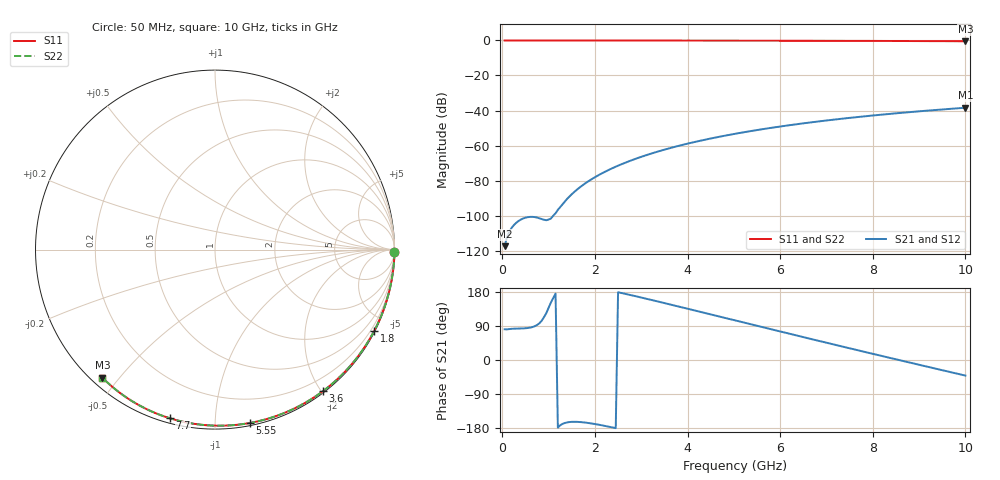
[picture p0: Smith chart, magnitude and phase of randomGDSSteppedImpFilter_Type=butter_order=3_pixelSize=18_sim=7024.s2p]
! freq	dB(S11)	phase(S11)	dB(S12)	phase(S12)
!  dB(S21)	phase(S21)	dB(S22)	phase(S22)
!S-par simulation data
#  GHz  S  DB  R 50
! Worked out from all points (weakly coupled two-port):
!   200 points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, 50 MHz to 10 GHz, reference 50 ohm
!   highest |S21| = -38.41 dB at 10 GHz (marker M1); lowest = -117.4 dB at 50 MHz (marker M2)
!   lowest |S11| = -0.4 dB at 10 GHz (marker M3), VSWR 39.16, Z = 1.54 - j22.6 ohm
!   |S11| at or under -10 dB: nowhere
!   |S22| runs from -0.4 to 0.0 dB; largest |S21 - S12| = 0
!   S11 on the Smith chart (normalised r, x): 50 MHz: open; 1.8 GHz: 0.04, -4.18; 3.6 GHz: 0.02, -2.02; 5.55 GHz: 0.02, -1.22; 7.7 GHz: 0.02, -0.77; 10 GHz: 0.03, -0.45
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0.05  -0.00 -0.8  -117.42 81.1  -117.42 81.1  -0.00 -0.8
0.9  -0.02 -13.6  -102.36 113.0  -102.36 113.0  -0.02 -13.6
1.75  -0.03 -26.2  -82.34 -164.5  -82.34 -164.5  -0.03 -26.2
1.8  -0.03 -26.9  -81.41 -165.2  -81.41 -165.2  -0.03 -26.9
1.85  -0.04 -27.6  -80.52 -166.1  -80.52 -166.1  -0.04 -27.6
1.9  -0.04 -28.4  -79.67 -166.9  -79.67 -166.9  -0.04 -28.4
2.05  -0.04 -30.6  -77.30 -170.0  -77.30 -170.0  -0.04 -30.6
2.25  -0.04 -33.5  -74.51 -174.7  -74.51 -174.7  -0.04 -33.5
2.45  -0.05 -36.4  -72.04 -179.8  -72.04 -179.8  -0.05 -36.4
2.65  -0.05 -39.2  -69.83 174.8  -69.83 174.8  -0.05 -39.2
3  -0.06 -44.2  -66.42 164.9  -66.42 164.9  -0.06 -44.2
3.4  -0.07 -49.8  -63.09 153.2  -63.09 153.2  -0.07 -49.8
3.6  -0.07 -52.6  -61.60 147.3  -61.60 147.3  -0.07 -52.6
4.3  -0.09 -62.2  -57.09 126.4  -57.09 126.4  -0.09 -62.2
5.05  -0.11 -72.1  -53.16 103.8  -53.16 103.8  -0.11 -72.1
5.55  -0.13 -78.6  -50.92 88.7  -50.92 88.7  -0.13 -78.6
6.1  -0.15 -85.5  -48.74 72.3  -48.74 72.3  -0.15 -85.5
6.7  -0.18 -93.0  -46.64 54.4  -46.64 54.4  -0.18 -93.0
7.7  -0.24 -105.0  -43.63 25.0  -43.63 25.0  -0.24 -105.0
8.35  -0.29 -112.5  -41.95 6.1  -41.95 6.1  -0.29 -112.5
9.15  -0.36 -121.7  -40.12 -16.9  -40.12 -16.9  -0.36 -121.7
10  -0.44 -131.3  -38.41 -41.2  -38.41 -41.2  -0.44 -131.3
